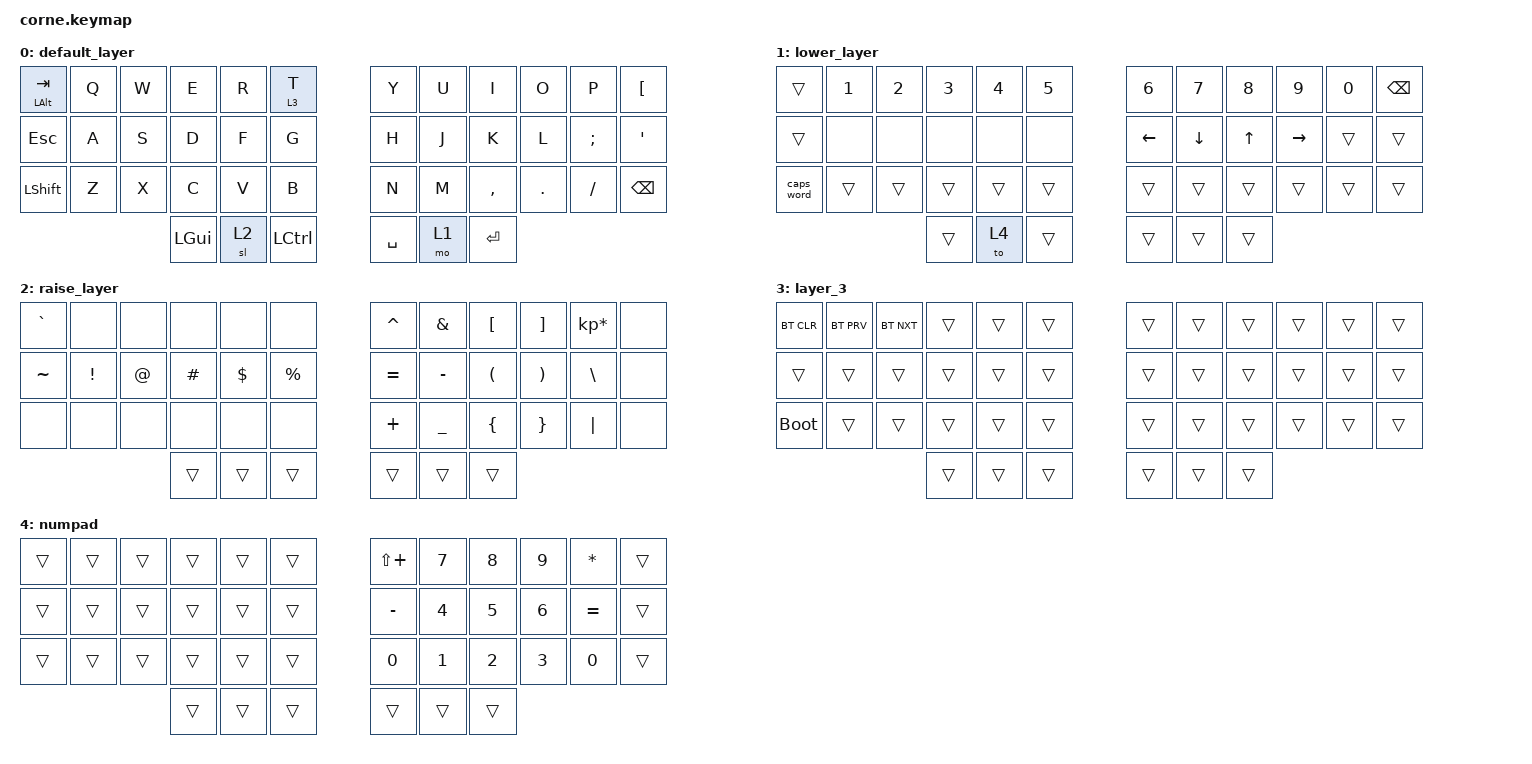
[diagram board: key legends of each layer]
/*
 * Copyright (c) 2020 The ZMK Contributors
 *
 * SPDX-License-Identifier: MIT
 */

#include <behaviors.dtsi>
#include <dt-bindings/zmk/bt.h>
#include <dt-bindings/zmk/keys.h>

/ {
    keymap {
        compatible = "zmk,keymap";

        default_layer {
            // -----------------------------------------------------------------------------------------
            // |  TAB |  Q  |  W  |  E  |  R  |  T  |   |  Y  |  U   |  I  |  O  |  P  | BKSP |
            // | ESC |  A  |  S  |  D  |  F  |  G  |   |  H  |  J   |  K  |  L  |  ;  |  '   |
            // | SHFT |  Z  |  X  |  C  |  V  |  B  |   |  N  |  M   |  ,  |  .  |  /  | RET  |
            //                    | GUI | LWR | CTRL |   | SPACE | RSE  | ALT |

            bindings = <
&mt LEFT_ALT TAB  &kp Q  &kp W  &kp E         &kp R  &lt 3 T      &kp Y      &kp U  &kp I      &kp O    &kp P     &kp LEFT_BRACKET
&kp ESC           &kp A  &kp S  &kp D         &kp F  &kp G        &kp H      &kp J  &kp K      &kp L    &kp SEMI  &kp SQT
&kp LSHFT         &kp Z  &kp X  &kp C         &kp V  &kp B        &kp N      &kp M  &kp COMMA  &kp DOT  &kp FSLH  &kp BACKSPACE
                                &kp LEFT_GUI  &sl 2  &kp LCTRL    &kp SPACE  &mo 1  &kp RET
            >;
        };

        lower_layer {
            // right thumb

            bindings = <
&trans      &kp N1  &kp N2  &kp N3  &kp N4  &kp N5    &kp N6    &kp N7    &kp N8  &kp N9     &kp N0  &kp BSPC
&trans      &none   &none   &none   &none   &none     &kp LEFT  &kp DOWN  &kp UP  &kp RIGHT  &trans  &trans
&caps_word  &trans  &trans  &trans  &trans  &trans    &trans    &trans    &trans  &trans     &trans  &trans
                            &trans  &to 4   &trans    &trans    &trans    &trans
            >;
        };

        raise_layer {
            //left thumb

            bindings = <
&kp GRAVE  &none     &none   &none     &none       &none          &kp CARET  &kp AMPS        &kp LEFT_BRACKET      &kp RIGHT_BRACKET      &kp KP_MULTIPLY  &none
&kp TILDE  &kp EXCL  &kp AT  &kp HASH  &kp DOLLAR  &kp PERCENT    &kp EQUAL  &kp MINUS       &kp LEFT_PARENTHESIS  &kp RIGHT_PARENTHESIS  &kp BSLH         &none
&none      &none     &none   &none     &none       &none          &kp PLUS   &kp UNDERSCORE  &kp LBRC              &kp RBRC               &kp PIPE         &none
                             &trans    &trans      &trans         &trans     &trans          &trans
            >;
        };

        layer_3 {
            bindings = <
&bt BT_CLR   &bt BT_PRV  &bt BT_NXT  &trans  &trans  &trans    &trans  &trans  &trans  &trans  &trans  &trans
&trans       &trans      &trans      &trans  &trans  &trans    &trans  &trans  &trans  &trans  &trans  &trans
&bootloader  &trans      &trans      &trans  &trans  &trans    &trans  &trans  &trans  &trans  &trans  &trans
                                     &trans  &trans  &trans    &trans  &trans  &trans
            >;
        };

        numpad {
            bindings = <
&trans  &trans  &trans  &trans  &trans  &trans    &kp LS(PLUS)  &kp N7  &kp N8  &kp N9  &kp STAR   &trans
&trans  &trans  &trans  &trans  &trans  &trans    &kp MINUS     &kp N4  &kp N5  &kp N6  &kp EQUAL  &trans
&trans  &trans  &trans  &trans  &trans  &trans    &kp N0        &kp N1  &kp N2  &kp N3  &kp N0     &trans
                        &trans  &trans  &trans    &trans        &trans  &trans
            >;
        };
    };
};
